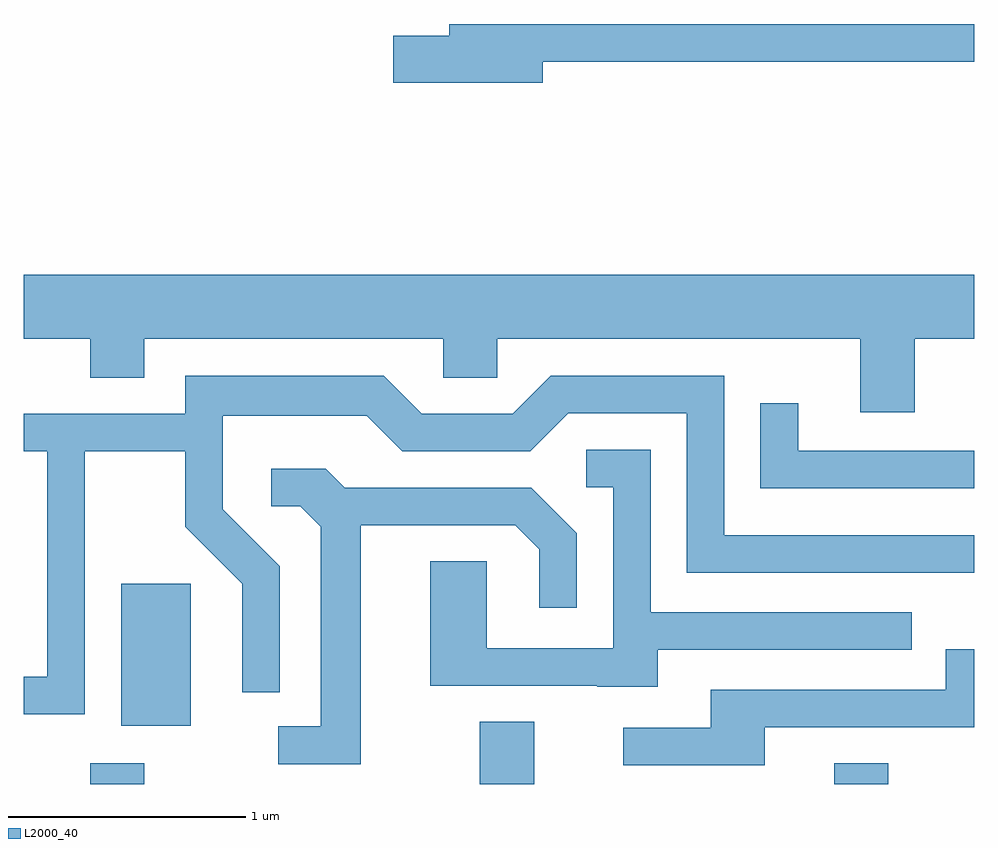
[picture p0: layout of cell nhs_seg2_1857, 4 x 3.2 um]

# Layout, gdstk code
import gdstk
lib = gdstk.Library(unit=1e-6, precision=1e-09)
def R(c, l, rs):  # rectangles x0, y0, x1, y1
    for r in rs: c.add(gdstk.rectangle(r[:2], r[2:], *l))
def P(c, l, *ps):  # polygons
    for p in ps: c.add(gdstk.Polygon(p, *l))
L2000_40 = (2000, 40)

nhs_seg2_1857 = lib.new_cell('nhs_seg2_1857')
R(nhs_seg2_1857, L2000_40, [(239.891,1019.802,240.119,1019.889), (241.531,1019.802,241.759,1020.064), (243.021,1019.802,243.249,1019.889), (240.021,1020.046,240.314,1020.644)])
P(nhs_seg2_1857, L2000_40, [(241.794,1022.841),(243.611,1022.841),(243.611,1022.999),(241.401,1022.999),(241.401,1022.949),(241.166,1022.949),(241.166,1022.751),(241.794,1022.751)],
  [(243.359,1021.676),(243.611,1021.676),(243.611,1021.944),(239.611,1021.944),(239.611,1021.676),(239.891,1021.676),(239.891,1021.511),(240.119,1021.511),(240.119,1021.676),(241.376,1021.676),(241.376,1021.511),(241.604,1021.511),(241.604,1021.676),(243.131,1021.676),(243.131,1021.366),(243.359,1021.366)],
  [(239.869,1021.201),(240.291,1021.201),(240.291,1020.884),(240.531,1020.644),(240.531,1020.188),(240.689,1020.188),(240.689,1020.717),(240.449,1020.957),(240.449,1021.351),(241.054,1021.351),(241.204,1021.201),(241.742,1021.201),(241.902,1021.361),(242.401,1021.361),(242.401,1020.691),(243.611,1020.691),(243.611,1020.849),(242.559,1020.849),(242.559,1021.519),(241.829,1021.519),(241.669,1021.359),(241.287,1021.359),(241.127,1021.519),(240.291,1021.519),(240.291,1021.359),(239.611,1021.359),(239.611,1021.201),(239.711,1021.201),(239.711,1020.254),(239.611,1020.254),(239.611,1020.096),(239.869,1020.096)],
  [(243.611,1021.204),(242.869,1021.204),(242.869,1021.403),(242.711,1021.403),(242.711,1021.046),(243.611,1021.046)],
  [(242.279,1020.366),(243.348,1020.366),(243.348,1020.524),(242.249,1020.524),(242.249,1021.209),(241.978,1021.209),(241.978,1021.051),(242.091,1021.051),(242.091,1020.374),(241.559,1020.374),(241.559,1020.739),(241.321,1020.739),(241.321,1020.216),(242.025,1020.216),(242.025,1020.211),(242.279,1020.211)],
  [(241.029,1020.891),(241.679,1020.891),(241.781,1020.789),(241.781,1020.543),(241.939,1020.543),(241.939,1020.857),(241.747,1021.049),(240.962,1021.049),(240.882,1021.129),(240.653,1021.129),(240.653,1020.971),(240.774,1020.971),(240.861,1020.884),(240.861,1020.044),(240.683,1020.044),(240.683,1019.886),(241.029,1019.886)],
  [(242.729,1020.041),(243.611,1020.041),(243.611,1020.369),(243.491,1020.369),(243.491,1020.199),(242.501,1020.199),(242.501,1020.039),(242.133,1020.039),(242.133,1019.881),(242.729,1019.881)])

lib.write_gds('nhs_seg2_1857.gds')
